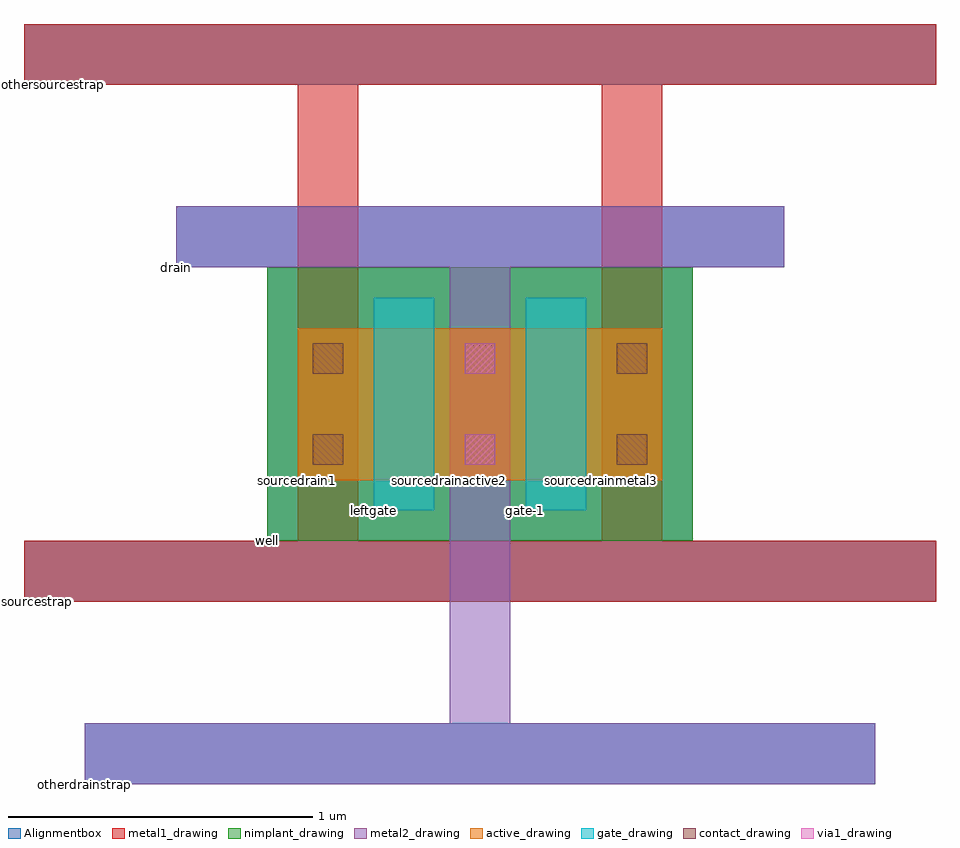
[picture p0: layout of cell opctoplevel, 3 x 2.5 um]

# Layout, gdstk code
import gdstk
lib = gdstk.Library(unit=1e-6, precision=1e-09)
def R(c, l, rs):  # rectangles x0, y0, x1, y1
    for r in rs: c.add(gdstk.rectangle(r[:2], r[2:], *l))
def A(c, l, x, y, w, h, nx, ny, dx, dy):  # array of equal rectangles
    R(c, l, [(x+i*dx, y+j*dy, x+i*dx+w, y+j*dy+h) for i in range(nx) for j in range(ny)])
Alignmentbox = (0, 0)
active_drawing = (1, 0)
nimplant_drawing = (5, 0)
gate_drawing = (6, 0)
contact_drawing = (7, 0)
metal1_drawing = (8, 0)
via1_drawing = (9, 0)
metal2_drawing = (10, 0)

opctoplevel = lib.new_cell('opctoplevel')
R(opctoplevel, Alignmentbox, [(-0.95,-1,1.65,-0.8), (-0.95,-1,1.65,-0.8), (-1.15,-0.4,1.85,-0.2), (-1.15,-0.4,1.85,-0.2), (-1.15,-0.4,1.85,-0.2), (-0.35,-0.2,1.05,0.7), (-0.35,-0.2,1.05,0.7), (-0.33,-0.18,1.03,0.68), (0,-0.1,0.2,0.6), (0,-0.1,0.2,0.6), (0,-0.1,0.2,0.6), (0,-0.1,0.7,0.6), (0.5,-0.1,0.7,0.6), (0.5,-0.1,0.7,0.6), (0.5,-0.1,0.7,0.6), (-0.3,0,0,0.5), (-0.3,0,0,0.5), (-0.25,0,-0.05,0.5), (-0.25,0,-0.05,0.5), (-0.25,0,-0.05,0.5), (-0.25,0,-0.05,0.5), (-0.25,0,-0.05,0.5), (-0.25,0,-0.05,0.5), (-0.25,0,-0.05,0.5), (-0.25,0,0.95,0.5), (0.2,0,0.5,0.5), (0.2,0,0.5,0.5), (0.25,0,0.45,0.5), (0.25,0,0.45,0.5), (0.25,0,0.45,0.5), (0.25,0,0.45,0.5), (0.25,0,0.45,0.5), (0.25,0,0.45,0.5), (0.7,0,1,0.5), (0.7,0,1,0.5), (0.75,0,0.95,0.5), (0.75,0,0.95,0.5), (0.75,0,0.95,0.5), (0.75,0,0.95,0.5), (0.75,0,0.95,0.5), (0.75,0,0.95,0.5), (0.75,0,0.95,0.5), (-0.65,0.7,1.35,0.9), (-0.65,0.7,1.35,0.9), (-0.65,0.7,1.35,0.9), (-1.15,1.3,1.85,1.5), (-1.15,1.3,1.85,1.5)])
R(opctoplevel, active_drawing, [(-0.25,0,0.95,0.5)])
R(opctoplevel, nimplant_drawing, [(-0.35,-0.2,1.05,0.7)])
R(opctoplevel, gate_drawing, [(0,-0.1,0.2,0.6), (0.5,-0.1,0.7,0.6)])
A(opctoplevel, contact_drawing, -0.2, 0.05, 0.1, 0.1, 3, 2, 0.5, 0.3)
A(opctoplevel, metal1_drawing, -0.25, 0, 0.2, 0.5, 3, 1, 0.5, 0)
R(opctoplevel, metal1_drawing, [(-1.15,-0.4,1.85,-0.2), (-0.25,-0.2,-0.05,0), (0.75,-0.2,0.95,0), (-0.25,0.5,-0.05,1.3), (0.75,0.5,0.95,1.3), (-1.15,1.3,1.85,1.5)])
R(opctoplevel, via1_drawing, [(0.3,0.05,0.4,0.15), (0.3,0.35,0.4,0.45)])
R(opctoplevel, metal2_drawing, [(-0.95,-1,1.65,-0.8), (0.25,-0.8,0.45,0), (0.25,0,0.45,0.5), (0.25,0.5,0.45,0.7), (-0.65,0.7,1.35,0.9)])
opctoplevel.add(gdstk.Label('sourcedrain1', (-0.25,0), layer=0, texttype=0))
opctoplevel.add(gdstk.Label('sourcedrain-3', (-0.25,0), layer=0, texttype=0))
opctoplevel.add(gdstk.Label('sourcedrainmetal3', (0.75,0), layer=0, texttype=0))
opctoplevel.add(gdstk.Label('leftgate', (0,-0.1), layer=0, texttype=0))
opctoplevel.add(gdstk.Label('well', (-0.35,-0.2), layer=0, texttype=0))
opctoplevel.add(gdstk.Label('sourcedrainactive2', (0.25,0), layer=0, texttype=0))
opctoplevel.add(gdstk.Label('oxide', (-0.33,-0.18), layer=0, texttype=0))
opctoplevel.add(gdstk.Label('sourcedrainactivefull-1', (0.7,0), layer=0, texttype=0))
opctoplevel.add(gdstk.Label('gate-1', (0.5,-0.1), layer=0, texttype=0))
opctoplevel.add(gdstk.Label('sourcedrain-2', (0.25,0), layer=0, texttype=0))
opctoplevel.add(gdstk.Label('sourcedrainactivefull3', (0.7,0), layer=0, texttype=0))
opctoplevel.add(gdstk.Label('gate1', (0,-0.1), layer=0, texttype=0))
opctoplevel.add(gdstk.Label('sourcedrainmetal2', (0.25,0), layer=0, texttype=0))
opctoplevel.add(gdstk.Label('drain', (-0.65,0.7), layer=0, texttype=0))
opctoplevel.add(gdstk.Label('drainstrap', (-0.65,0.7), layer=0, texttype=0))
opctoplevel.add(gdstk.Label('sourcedrainactive3', (0.75,0), layer=0, texttype=0))
opctoplevel.add(gdstk.Label('sourcedrainmetal-1', (0.75,0), layer=0, texttype=0))
opctoplevel.add(gdstk.Label('sourcedrainactivefull-2', (0.2,0), layer=0, texttype=0))
opctoplevel.add(gdstk.Label('othersourcestrap', (-1.15,1.3), layer=0, texttype=0))
opctoplevel.add(gdstk.Label('sourcedrainactivefull2', (0.2,0), layer=0, texttype=0))
opctoplevel.add(gdstk.Label('otherdrainstrap', (-0.95,-1), layer=0, texttype=0))
opctoplevel.add(gdstk.Label('sourcedrainactiveleft', (-0.25,0), layer=0, texttype=0))
opctoplevel.add(gdstk.Label('active', (-0.25,0), layer=0, texttype=0))
opctoplevel.add(gdstk.Label('implant', (-0.35,-0.2), layer=0, texttype=0))
opctoplevel.add(gdstk.Label('rightgate', (0.5,-0.1), layer=0, texttype=0))
opctoplevel.add(gdstk.Label('sourcedrainmetal-2', (0.25,0), layer=0, texttype=0))
opctoplevel.add(gdstk.Label('sourcedrainactivefull-3', (-0.3,0), layer=0, texttype=0))
opctoplevel.add(gdstk.Label('sourcestrap', (-1.15,-0.4), layer=0, texttype=0))
opctoplevel.add(gdstk.Label('uppersourcestrap', (-1.15,1.3), layer=0, texttype=0))
opctoplevel.add(gdstk.Label('sourcedrainmetal-3', (-0.25,0), layer=0, texttype=0))
opctoplevel.add(gdstk.Label('lowersourcestrap', (-1.15,-0.4), layer=0, texttype=0))
opctoplevel.add(gdstk.Label('sourcedrain2', (0.25,0), layer=0, texttype=0))
opctoplevel.add(gdstk.Label('gate-2', (0,-0.1), layer=0, texttype=0))
opctoplevel.add(gdstk.Label('sourcedrainactive-3', (-0.25,0), layer=0, texttype=0))
opctoplevel.add(gdstk.Label('source', (-1.15,-0.4), layer=0, texttype=0))
opctoplevel.add(gdstk.Label('sourcedrain3', (0.75,0), layer=0, texttype=0))
opctoplevel.add(gdstk.Label('sourcedrain-1', (0.75,0), layer=0, texttype=0))
opctoplevel.add(gdstk.Label('gate2', (0.5,-0.1), layer=0, texttype=0))
opctoplevel.add(gdstk.Label('sourcedrainmetal1', (-0.25,0), layer=0, texttype=0))
opctoplevel.add(gdstk.Label('sourcedrainactive-2', (0.25,0), layer=0, texttype=0))
opctoplevel.add(gdstk.Label('lowerdrainstrap', (-0.95,-1), layer=0, texttype=0))
opctoplevel.add(gdstk.Label('sourcedrainactiveright', (0.75,0), layer=0, texttype=0))
opctoplevel.add(gdstk.Label('sourcedrainactivefull1', (-0.3,0), layer=0, texttype=0))
opctoplevel.add(gdstk.Label('sourcedrainactive-1', (0.75,0), layer=0, texttype=0))
opctoplevel.add(gdstk.Label('sourcedrainactive1', (-0.25,0), layer=0, texttype=0))
opctoplevel.add(gdstk.Label('gateboundingbox', (0,-0.1), layer=0, texttype=0))
opctoplevel.add(gdstk.Label('upperdrainstrap', (-0.65,0.7), layer=0, texttype=0))

lib.write_gds('opctoplevel.gds')
